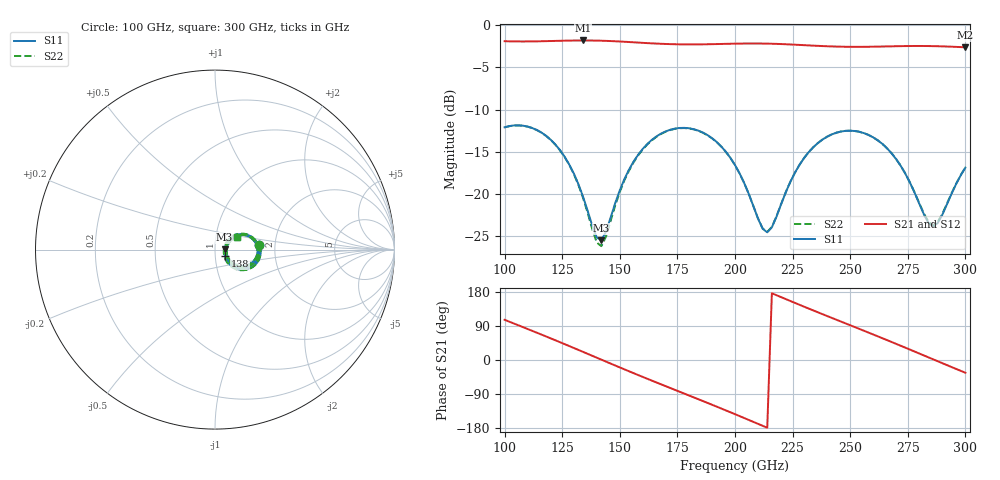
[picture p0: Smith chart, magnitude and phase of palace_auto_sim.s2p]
#  GHZ S DB R 50
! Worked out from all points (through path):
!   101 points, 100 GHz to 300 GHz, reference 50 ohm
!   highest |S21| = -1.82 dB at 134 GHz (marker M1); lowest = -2.6 dB at 300 GHz (marker M2)
!   group delay of S21, straight-line fit = 6.94 ps
!   lowest |S11| = -25.5 dB at 142 GHz (marker M3), VSWR 1.11, Z = 55.6 + j0.0727 ohm
!   |S11| at or under -10 dB: start of sweep to end of sweep
!   |S22| runs from -26.2 to -11.9 dB; largest |S21 - S12| = 1.4e-13
!   S11 on the Smith chart (normalised r, x): 100 GHz: 1.65, +0.09; 138 GHz: 1.11, -0.08; 300 GHz: 1.27, +0.19
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100  -12.09 5.9  -1.90 106.1  -1.90 106.1  -12.11 5.7
108  -11.90 -9.5  -1.94 86.6  -1.94 86.6  -11.91 -9.8
116  -12.72 -24.6  -1.91 67.1  -1.91 67.1  -12.73 -25.2
126  -15.56 -41.0  -1.84 42.0  -1.84 42.0  -15.59 -42.1
134  -20.27 -44.4  -1.82 21.6  -1.82 21.6  -20.42 -46.4
138  -23.71 -32.4  -1.82 11.2  -1.82 11.2  -24.10 -34.8
142  -25.47 0.7  -1.85 0.9  -1.85 0.9  -26.17 0.7
154  -17.10 35.0  -2.00 -29.7  -2.00 -29.7  -17.22 36.6
168  -12.83 14.3  -2.21 -64.4  -2.21 -64.4  -12.87 15.2
176  -12.17 -0.3  -2.28 -83.8  -2.28 -83.8  -12.20 0.4
184  -12.48 -15.0  -2.28 -103.3  -2.28 -103.3  -12.50 -14.4
200  -16.56 -39.3  -2.20 -143.0  -2.20 -143.0  -16.58 -38.8
214  -24.53 -2.0  -2.19 -178.8  -2.19 -178.8  -24.48 -1.6
224  -18.57 33.9  -2.29 155.7  -2.29 155.7  -18.55 34.0
234  -14.45 24.5  -2.43 130.7  -2.43 130.7  -14.45 24.7
244  -12.74 8.0  -2.54 106.3  -2.54 106.3  -12.74 8.1
252  -12.53 -6.3  -2.57 86.8  -2.57 86.8  -12.53 -6.1
260  -13.29 -20.2  -2.55 67.3  -2.55 67.3  -13.29 -20.0
268  -15.18 -32.2  -2.51 47.5  -2.51 47.5  -15.17 -31.9
278  -19.87 -35.9  -2.47 22.2  -2.47 22.2  -19.82 -35.5
286  -23.82 -2.8  -2.49 1.8  -2.49 1.8  -23.68 -2.9
300  -16.87 30.5  -2.63 -33.7  -2.63 -33.7  -16.85 30.0
